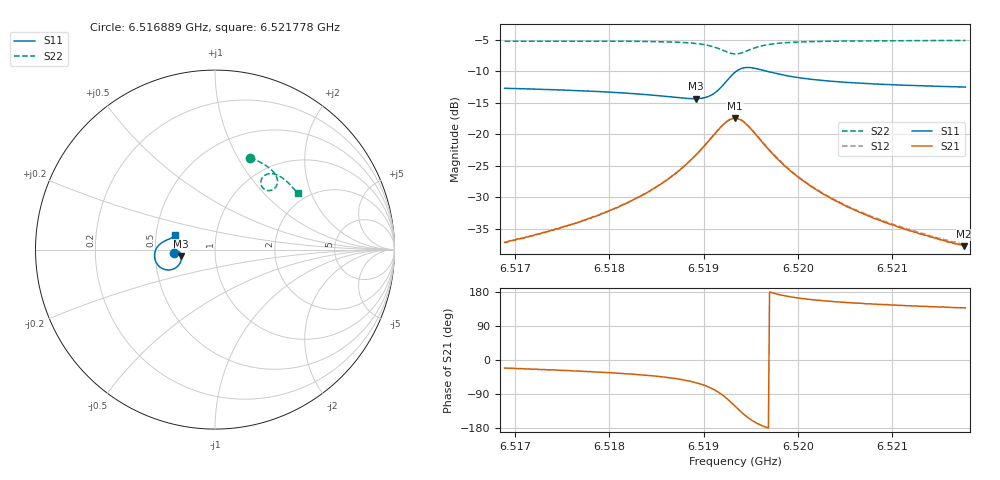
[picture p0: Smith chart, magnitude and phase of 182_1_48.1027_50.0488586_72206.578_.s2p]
#  HZ  S  RI  R  50.00
! Rohde & Schwarz Vector Network Analyzer
! Rohde-Schwarz,ZNB20-2Port,1311601062101988,3.16
! Created: UTC 12/23/2023, 3:52:51 AM
! freq[Hz]  re:S11  im:S11  re:S21  im:S21  re:S12  im:S12  re:S22  im:S22
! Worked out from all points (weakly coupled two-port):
!   401 points, 6.516889 GHz to 6.521778 GHz, reference 50 ohm
!   highest |S21| = -17.48 dB at 6.519333 GHz (marker M1); lowest = -37.8 dB at 6.521765 GHz (marker M2)
!   lowest |S11| = -14.4 dB at 6.518918 GHz (marker M3), VSWR 1.47, Z = 34.1 - j2.6 ohm
!   |S11| at or under -10 dB: start of sweep to 6.519346 GHz; 6.519673 GHz to end of sweep
!   |S22| runs from -7.2 to -5.1 dB; largest |S21 - S12| = 0.0041
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6.5168887e9  -0.231 -0.0192  0.0129 -0.005  0.0129 -0.00455  0.1954 0.512
6.517292e9  -0.2268 -0.0131  0.0149 -0.00705  0.015 -0.00646  0.2252 0.4999
6.5177076e9  -0.221 -0.00796  0.0177 -0.00997  0.018 -0.0095  0.2559 0.485
6.5181354e9  -0.213 -0.00546  0.0222 -0.0158  0.0228 -0.0151  0.2881 0.4657
6.5185265e9  -0.202 -0.00957  0.0285 -0.0271  0.0293 -0.0263  0.3183 0.4411
6.5187221e9  -0.1946 -0.0178  0.0324 -0.0382  0.0337 -0.0373  0.3332 0.4233
6.5189176e9  -0.1879 -0.0367  0.0343 -0.059  0.0363 -0.0581  0.346 0.3968
6.5190276e9  -0.1883 -0.0563  0.0306 -0.078  0.0331 -0.0775  0.348 0.3756
6.5191132e9  -0.1965 -0.078  0.0198 -0.0974  0.023 -0.0975  0.3424 0.3551
6.5192354e9  -0.236 -0.1096  -0.0201 -0.1224  -0.0168 -0.1239  0.3125 0.3301
6.5193332e9  -0.292 -0.1064  -0.0703 -0.1137  -0.0675 -0.1166  0.2741 0.3368
6.5193821e9  -0.3162 -0.0883  -0.0898 -0.0954  -0.0878 -0.0987  0.2605 0.3523
6.5194432e9  -0.3335 -0.0579  -0.1018 -0.067  -0.1008 -0.0706  0.2554 0.3755
6.519541e9  -0.3341 -0.0134  -0.0977 -0.0289  -0.0977 -0.0319  0.2671 0.4048
6.519651e9  -0.3189 0.0175  -0.0813 -0.00516  -0.0819 -0.00761  0.2897 0.4199
6.519871e9  -0.2899 0.043  -0.0541 0.0106  -0.055 0.0092  0.3273 0.4218
6.5201521e9  -0.2674 0.0538  -0.0354 0.0135  -0.0363 0.0127  0.3593 0.4092
6.5205065e9  -0.2513 0.0607  -0.0238 0.0127  -0.0245 0.0122  0.3884 0.3895
6.520971e9  -0.2384 0.0676  -0.016 0.0109  -0.0165 0.0107  0.4183 0.3622
6.5212888e9  -0.2319 0.072  -0.0127 0.00997  -0.0132 0.00971  0.4357 0.3429
6.5217654e9  -0.2236 0.0786  -0.00945 0.00874  -0.01 0.0087  0.4593 0.3134
6.5217777e9  -0.2235 0.0786  -0.00953 0.00874  -0.0099 0.00865  0.4598 0.3128
